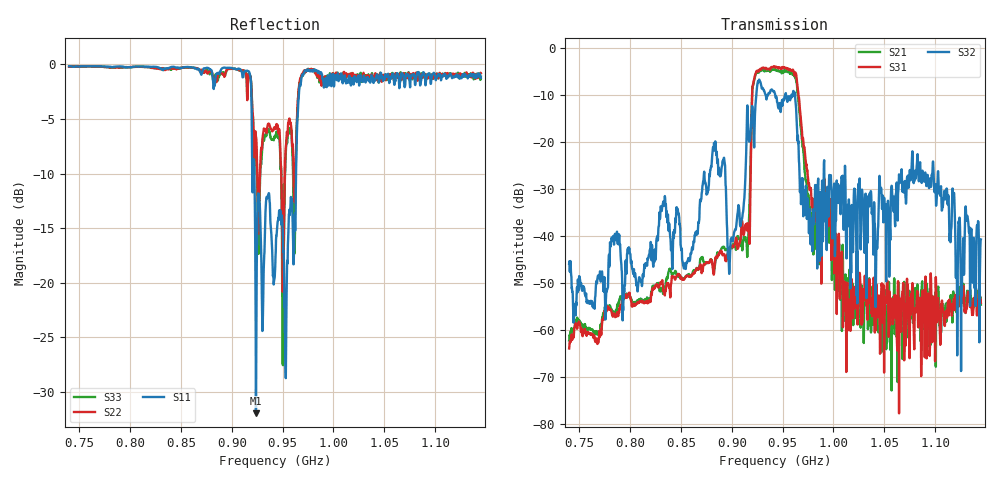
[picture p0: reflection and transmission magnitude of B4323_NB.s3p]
! Matrix data file written by TouchstoneData, EPCOS AG
! FILENAME: "AA53A_2_05_NB.snp"
! COMMENT: "(TS/AA53A_2_05_NB.s3p) Epcos AG 2/1/2013 3:4"
! INFO: nport=3, nfreq=1601
! DATE: "Wed Mar  6 16:55:05 2013"
! USER: "Wee Chuan Tay"
! port | pin | signal
!  1  |  1  |  Input
!  2  |  3  |  Output
!  3  |  4  |  Output
# MHZ S RI R 50
! freq  reS11 imS11  reS12 imS12  reS13 imS13  ...
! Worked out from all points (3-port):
!   1601 points, 740 MHz to 1.145 GHz, reference 50 ohm
!   strongest paths, dB at 740 MHz, 841.2 MHz, 942.5 MHz, 1.044 GHz, 1.145 GHz:
!     S32: -45.9, -45.8, -9.7, -38.5, -40.7
!     S31: -63.9, -48.5, -3.9, -54.1, -54.2
!     S21: -62.2, -48.3, -4.6, -57.7, -54.6
!   lowest |S11| = -32.0 dB at 923.8 MHz (marker M1), VSWR 1.05, Z = 52.3 + j1.14 ohm
!   |S11| at or under -10 dB: 920.0953 MHz to 920.8511 MHz (755.8 kHz wide, 0.0821 % of centre); 922.3 MHz to 963.2 MHz (40.92 MHz wide, 4.34 % of centre)
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740  0.0546 -0.9807  -0.000759 -0.000155  -0.000624 -0.000118
     -0.000759 -0.000155  0.3504 -0.9128  -0.00457 0.00223
     -0.000624 -0.000118  -0.00457 0.00223  0.3534 -0.9115
854.1594  -0.2878 -0.9292  -0.00352 0.000871  -0.00351 0.000817
          -0.00352 0.000871  0.0356 -0.9688  -0.00431 0.00147
          -0.00351 0.000817  -0.00431 0.00147  0.0371 -0.9662
883.0156  -0.3827 -0.7045  -0.00438 0.00117  -0.0046 0.00111
          -0.00438 0.00117  -0.1751 -0.8456  0.0655 0.0484
          -0.0046 0.00111  0.0655 0.0484  -0.113 -0.8654
897.95  -0.6322 -0.7289  -0.00625 0.00441  -0.00584 0.00408
        -0.00625 0.00441  -0.2882 -0.9096  -0.00465 0.00232
        -0.00584 0.00408  -0.00465 0.00232  -0.2835 -0.912
914.4031  -0.9206 -0.1583  -0.00229 0.00832  -0.00324 0.0131
          -0.00229 0.00832  -0.7513 -0.4732  -0.015 0.0956
          -0.00324 0.0131  -0.015 0.0956  -0.7513 -0.4775
923.7687  0.0228 0.0108  -0.528 0.0613  0.5465 -0.0422
          -0.528 0.0613  -0.4349 0.169  -0.2124 0.1915
          0.5465 -0.0422  -0.2124 0.1915  -0.4312 0.1595
942.5  0.0161 -0.1105  -0.1779 -0.5597  0.1903 0.6082
       -0.1779 -0.5597  0.3804 0.3466  0.2573 0.2015
       0.1903 0.6082  0.2573 0.2015  0.32 0.3333
956.4219  0.204 0.0264  -0.0779 0.5513  0.0838 -0.5912
          -0.0779 0.5513  0.5105 -0.2072  0.2635 -0.1554
          0.0838 -0.5912  0.2635 -0.1554  0.4599 -0.2023
1014.641  0.2198 -0.8188  1.51e-06 0.00211  0.000507 0.000858
          1.51e-06 0.00211  0.4687 -0.7671  -0.00796 -0.0131
          0.000507 0.000858  -0.00796 -0.0131  0.4836 -0.7603
1145  -0.073 -0.8678  -0.00131 0.00132  -0.0013 0.00144
      -0.00131 0.00132  0.192 -0.8924  -0.00822 0.00416
      -0.0013 0.00144  -0.00822 0.00416  0.2255 -0.8499
